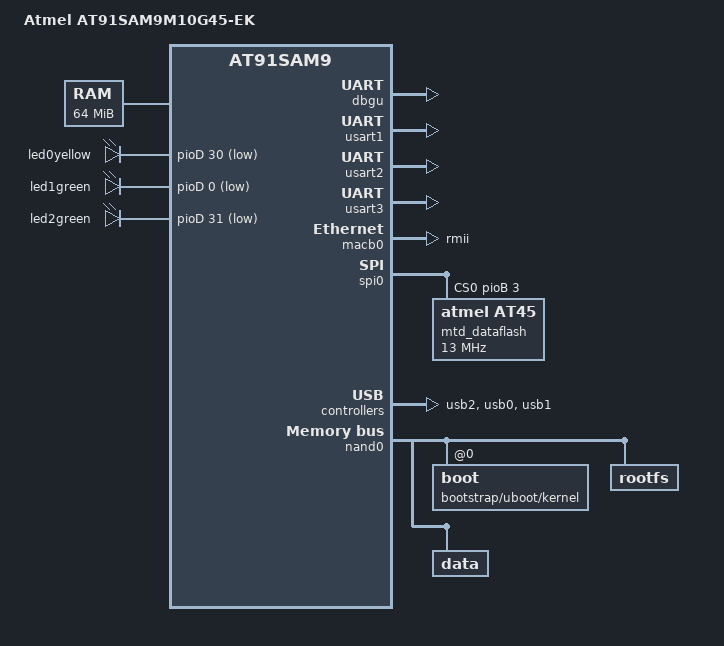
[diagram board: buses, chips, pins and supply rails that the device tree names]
/*
 * at91sam9m10g45ek.dts - Device Tree file for AT91SAM9M10G45-EK board
 *
 *  Copyright (C) 2011 Atmel,
 *                2011 Nicolas Ferre <nicolas.ferre@atmel.com>
 *
 * Licensed under GPLv2 or later.
 */
/dts-v1/;
#include "at91sam9g45.dtsi"

/ {
	model = "Atmel AT91SAM9M10G45-EK";
	compatible = "atmel,at91sam9m10g45ek", "atmel,at91sam9g45", "atmel,at91sam9";

	chosen {
		bootargs = "mem=64M root=/dev/mtdblock1 rw rootfstype=jffs2";
		stdout-path = "serial0:115200n8";
	};

	memory {
		reg = <0x70000000 0x4000000>;
	};

	clocks {
		slow_xtal {
		      clock-frequency = <32768>;
		};

		main_xtal {
		      clock-frequency = <12000000>;
		};
	};

	ahb {
		apb {
			dbgu: serial@ffffee00 {
				status = "okay";
			};

			usart1: serial@fff90000 {
				pinctrl-0 = <&pinctrl_usart1 &pinctrl_usart1_rts>;
				linux,rs485-enabled-at-boot-time;
				status = "okay";
			};

			usart2: serial@fff94000 {
				pinctrl-0 = <&pinctrl_usart2>;
				status = "okay";
			};

			usart3: serial@fff98000 {
				pinctrl-0 = <&pinctrl_usart3 &pinctrl_usart3_rts>;
				linux,rs485-enabled-at-boot-time;
				status = "okay";
			};

			macb0: ethernet@fffbc000 {
				phy-mode = "rmii";
				status = "okay";
			};

			watchdog@fffffd40 {
				status = "okay";
			};

			spi0: spi@fffa4000{
				status = "okay";
				cs-gpios = <&pioB 3 0>, <0>, <0>, <0>;
				mtd_dataflash@0 {
					compatible = "atmel,at45", "atmel,dataflash";
					spi-max-frequency = <13000000>;
					reg = <0>;
				};
			};

			usb2: gadget@fff78000 {
				atmel,vbus-gpio = <&pioB 19 GPIO_ACTIVE_HIGH>;
				status = "okay";
			};

			rtc@fffffd20 {
				atmel,rtt-rtc-time-reg = <&gpbr 0x0>;
				status = "okay";
			};

			gpbr: syscon@fffffd60 {
				status = "okay";
			};

			rtc@fffffdb0 {
				status = "okay";
			};
		};

		nand0: nand@40000000 {
			nand-bus-width = <8>;
			nand-ecc-mode = "soft";
			nand-on-flash-bbt;
			status = "okay";

			boot@0 {
				label = "bootstrap/uboot/kernel";
				reg = <0x0 0x400000>;
			};

			rootfs@400000 {
				label = "rootfs";
				reg = <0x400000 0x3C00000>;
			};

			data@4000000 {
				label = "data";
				reg = <0x4000000 0xC000000>;
			};
		};

		usb0: ohci@00700000 {
			status = "okay";
			num-ports = <2>;
			atmel,vbus-gpio = <&pioD 1 GPIO_ACTIVE_LOW
					   &pioD 3 GPIO_ACTIVE_LOW>;
		};

		usb1: ehci@00800000 {
			status = "okay";
		};
	};

	leds {
		compatible = "gpio-leds";

		led0yellow {
			label = "led0yellow";
			gpios = <&pioD 30 GPIO_ACTIVE_LOW>;
			linux,default-trigger = "heartbeat";
		};

		led1green {
			label = "led1green";
			gpios = <&pioD 0 GPIO_ACTIVE_LOW>;
			linux,default-trigger = "nand-disk";
		};

		led2green {
			label = "led2green";
			gpios = <&pioD 31 GPIO_ACTIVE_LOW>;
			linux,default-trigger = "none";
		};
	};
};
